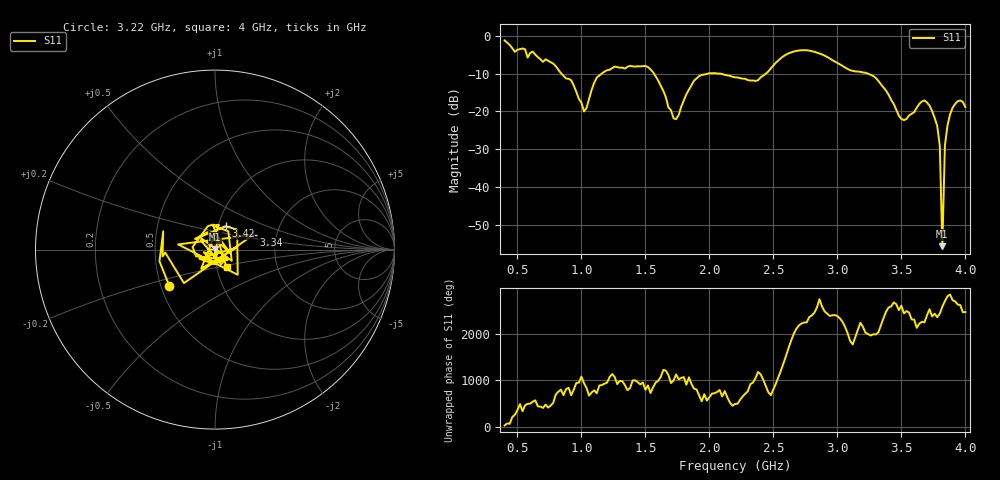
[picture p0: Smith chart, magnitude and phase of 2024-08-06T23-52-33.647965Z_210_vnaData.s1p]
!Created with skrf (http://scikit-rf.org).
# Hz S RI R 50.0
!freq ReS11 ImS11
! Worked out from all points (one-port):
!   181 points, 400 MHz to 4 GHz, reference 50 ohm
!   lowest |S11| = -55.7 dB at 3.82 GHz (marker M1), VSWR 1.00, Z = 50.1 + j0.143 ohm
!   |S11| at or under -10 dB: 1.567 GHz to 1.988 GHz (420.4 MHz wide, 23.7 % of centre); 2.083 GHz to 2.441 GHz (357.5 MHz wide, 15.8 % of centre); 3.24 GHz to end of sweep (the widest 3 of 4)
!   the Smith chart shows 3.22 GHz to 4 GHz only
!   S11 on the Smith chart (normalised r, x): 3.22 GHz: 0.55, -0.25; 3.34 GHz: 1.52, +0.26; 3.42 GHz: 1.09, +0.29; 4 GHz: 1.12, -0.21
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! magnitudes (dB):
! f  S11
! 400 MHz  -1.2
! 860 MHz  -10.6
! 920 MHz  -11.7
! 1.02 GHz  -20.0
! 1.12 GHz  -11.1
! 1.3 GHz  -8.4
! 1.52 GHz  -8.2
! 1.64 GHz  -14.6
! 1.72 GHz  -21.8
! 1.76 GHz  -20.9
! 1.92 GHz  -10.6
! 2.2 GHz  -11.0
! 2.38 GHz  -11.7
! 2.66 GHz  -4.1
! 3.1 GHz  -9.1
! 3.22 GHz  -9.8
! 3.34 GHz  -12.8
! 3.42 GHz  -16.9
! 3.5 GHz  -22.0
! 3.56 GHz  -21.1
! 3.68 GHz  -17.1
! 3.78 GHz  -23.8
! 3.8 GHz  -29.1
! 3.82 GHz  -55.7
! 3.84 GHz  -29.0
! 3.86 GHz  -23.8
! 3.94 GHz  -17.3
! 4 GHz  -18.8
